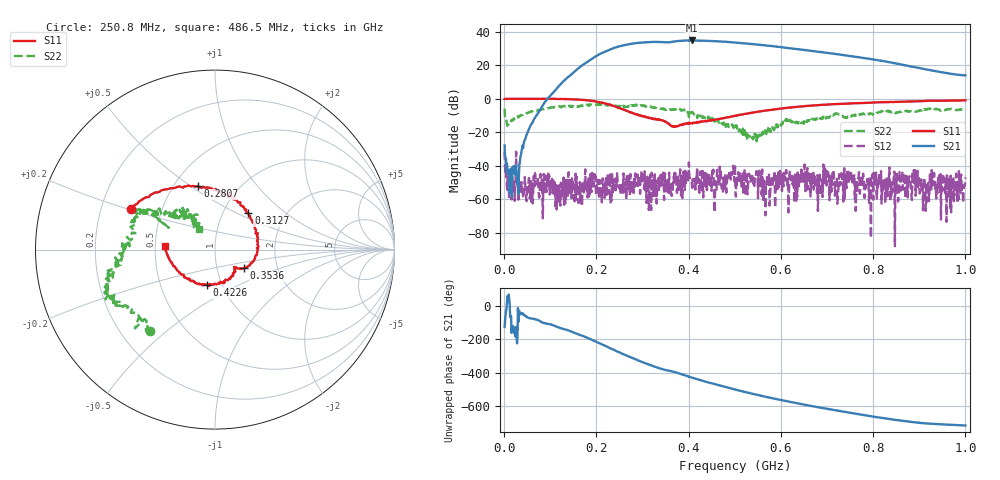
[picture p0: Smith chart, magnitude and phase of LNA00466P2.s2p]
! Created with skrf 1.9.0 (http://scikit-rf.org).
# Hz S RI R 50.0
!freq ReS11 ImS11 ReS21 ImS21 ReS12 ImS12 ReS22 ImS22
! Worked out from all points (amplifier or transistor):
!   1001 points, 1 MHz to 1 GHz, reference 50 ohm
!   highest |S21| = 34.9 dB at 406.6 MHz (marker M1)
!   |S21| within 3 dB of that: 257.3 MHz to 568.2 MHz (311 MHz wide, 75.3 % of centre)
!   unconditionally stable (mu >= 1): start of sweep to 32.42 MHz; 225 MHz to 258.7 MHz; 299.3 MHz to end of sweep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
!   at 166.8 MHz: K = 2.05, MAG = 30.4 dB, |S12| = -53.0 dB
!   at 500.5 MHz: K = 1.05, MAG = 35.0 dB, |S12| = -39.0 dB
!   at 1 GHz: K = 3.12, MAG = 22.6 dB, |S12| = -47.0 dB
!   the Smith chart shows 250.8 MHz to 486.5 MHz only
!   S11 on the Smith chart (normalised r, x): 250.8 MHz: 0.33, +0.21; 280.7 MHz: 0.65, +0.53; 312.7 MHz: 1.32, +0.57; 353.6 MHz: 1.35, -0.29; 422.6 MHz: 0.85, -0.35; 486.5 MHz: 0.56, +0.02
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1000000  0.992 0.0105  -0.023 -0.0327  -0.0208 0.0163  0.3568 0.367
1.08892e8  0.5287 -0.8429  -0.7702 -1.496  0.00144 0.0016  0.42 -0.3614
1.67833e8  -0.219 -0.9053  -9.711 -0.6583  -0.00133 0.000423  0.0345 -0.6335
2.12788e8  -0.6823 -0.3425  -15.15 18.11  0.00307 -6.39e-05  -0.2317 -0.6244
2.31769e8  -0.6498 -0.0266  -8.02 29.54  -0.00145 -0.000818  -0.2932 -0.5647
2.5075e8  -0.4694 0.2283  5.713 36.78  -0.001 -0.0019  -0.3642 -0.4549
2.8072e8  -0.0949 0.3531  31.78 32.07  -0.000895 0.00123  -0.5736 -0.2791
3.12688e8  0.1866 0.2018  48.54 8.753  -0.00174 0.00213  -0.5644 -0.1265
3.34666e8  0.2407 0.00867  49.1 -9.82  0.00137 0.00402  -0.5157 -0.0372
3.53647e8  0.161 -0.1041  43.75 -21.48  0.0015 0.00142  -0.4859 0.0768
3.77623e8  0.1105 -0.1055  39.38 -36.22  -0.00252 0.000336  -0.4265 0.1907
4.06594e8  0.036 -0.1824  20.18 -51.7  -0.00312 0.00188  -0.3357 0.2247
4.22578e8  -0.0462 -0.1956  7.383 -54.43  0.000265 0.00162  -0.2258 0.2101
4.5055e8  -0.1759 -0.1396  -13.21 -51.99  0.00585 -0.00133  -0.1532 0.2259
4.86514e8  -0.2807 0.0203  -32.66 -37.64  0.00583 -0.00228  -0.0872 0.1142
5.005e8  -0.2984 0.1023  -37.74 -30.3  0.0101 0.00504  -0.0748 0.1207
5.4046e8  -0.2398 0.3129  -41.91 -9.143  0.00215 0.00182  -0.0726 0.0028
5.88412e8  -0.048 0.4845  -34.91 11.13  -0.00215 -0.00106  -0.1401 -0.0647
6.67333e8  0.3268 0.536  -13.04 23.44  0.00167 -0.0039  -0.2379 -0.0423
7.53247e8  0.6287 0.3643  4.071 18.25  -0.00596 -0.00314  -0.3135 0.0278
8.34166e8  0.7862 0.1406  9.264 8.392  0.00306 -0.00229  -0.4068 0.0822
1e9  0.8126 -0.3908  5.008 0.2556  0.00442 0.000757  -0.2205 0.4274
